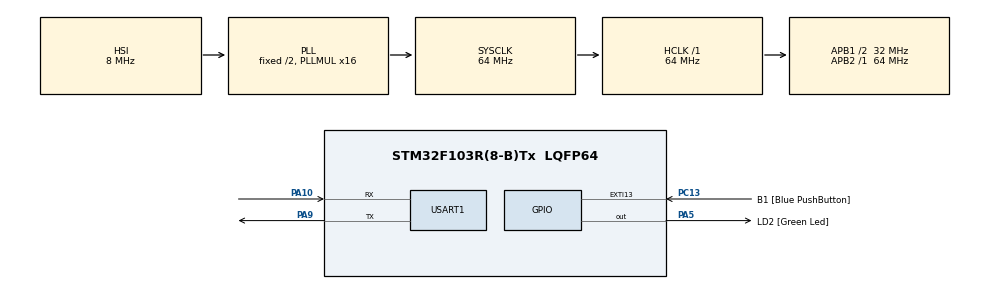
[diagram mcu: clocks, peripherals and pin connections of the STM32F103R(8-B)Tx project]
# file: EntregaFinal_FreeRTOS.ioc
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FREERTOS.Tasks01=defaultTask,-3,128,StartDefaultTask,Default,NULL,Dynamic,NULL,NULL
FREERTOS.configUSE_NEWLIB_REENTRANT=1
Mcu.Family=STM32F1
Mcu.Name=STM32F103R(8-B)Tx
Mcu.Package=LQFP64
NVIC.EXTI15_10_IRQn=true\:5\:0\:false\:false\:true\:true\:true\:true\:true
NVIC.PriorityGroup=NVIC_PRIORITYGROUP_4
NVIC.TIM4_IRQn=true\:15\:0\:false\:false\:true\:false\:false\:true\:true
NVIC.TimeBase=TIM4_IRQn
NVIC.TimeBaseIP=TIM4
PA10.Mode=Asynchronous
PA10.Signal=USART1_RX
PA13.GPIO_Label=TMS
PA13.Mode=Serial_Wire
PA13.Signal=SYS_JTMS-SWDIO
PA14.GPIO_Label=TCK
PA14.Mode=Serial_Wire
PA14.Signal=SYS_JTCK-SWCLK
PA5.GPIO_Label=LD2 [Green Led]
PA5.GPIO_ModeDefaultOutputPP=GPIO_MODE_OUTPUT_PP
PA5.GPIO_PuPd=GPIO_NOPULL
PA5.GPIO_Speed=GPIO_SPEED_FREQ_LOW
PA5.Signal=GPIO_Output
PA9.Mode=Asynchronous
PA9.Signal=USART1_TX
PB3.GPIO_Label=SWO
PB3.Signal=SYS_JTDO-TRACESWO
PC13-TAMPER-RTC.GPIO_Label=B1 [Blue PushButton]
PC13-TAMPER-RTC.GPIO_PuPd=GPIO_NOPULL
PC13-TAMPER-RTC.Signal=GPXTI13
PC14-OSC32_IN.Mode=LSE-External-Oscillator
PC14-OSC32_IN.Signal=RCC_OSC32_IN
PC15-OSC32_OUT.Mode=LSE-External-Oscillator
PC15-OSC32_OUT.Signal=RCC_OSC32_OUT
PD0-OSC_IN.Mode=HSE-External-Clock-Source
PD0-OSC_IN.Signal=RCC_OSC_IN
PD1-OSC_OUT.Mode=HSE-External-Clock-Source
PD1-OSC_OUT.Signal=RCC_OSC_OUT
ProjectManager.HeapSize=0x200
ProjectManager.StackSize=0x400
ProjectManager.TargetToolchain=STM32CubeIDE
RCC.AHBFreq_Value=64000000
RCC.APB1CLKDivider=RCC_HCLK_DIV2
RCC.APB1Freq_Value=32000000
RCC.APB1TimFreq_Value=64000000
RCC.APB2Freq_Value=64000000
RCC.APB2TimFreq_Value=64000000
RCC.HCLKFreq_Value=64000000
RCC.PLLMUL=RCC_PLL_MUL16
RCC.RTCClockSelection=RCC_RTCCLKSOURCE_LSE
RCC.SYSCLKFreq_VALUE=64000000
RCC.SYSCLKSource=RCC_SYSCLKSOURCE_PLLCLK
RCC.USBFreq_Value=64000000
USART1.VirtualMode=VM_ASYNC
VP_FREERTOS_VS_CMSIS_V1.Mode=CMSIS_V1
VP_SYS_VS_tim4.Mode=TIM4
board=NUCLEO-F103RB

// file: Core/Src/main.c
#include <delay.h>
#include "main.h"
#include "cmsis_os.h"
#include <stdint.h>
#include <math.h>
#include <stddef.h>
#include <stdio.h>
#include "EngTrModel.h"
#include "rtwtypes.h"
#include "lcd.h"
#include "keypad.h"
#include "uart.h"

/* USER CODE BEGIN PD */
#define PERIOD_T1	30		// Potenciometro
#define PERIOD_T2	60		// Keypad - Modelo Motor
#define PERIOD_T3	150		// UART
#define PERIOD_T4	150		// LCD

//#define PERIOD_T1	40
//#define PERIOD_T2	60
//#define PERIOD_T3	120
//#define PERIOD_T4	160

#define TICK_DIFF_T1	(osKernelSysTick() - (PERIOD_T1 * counter++))
#define TICK_DIFF_T2	(osKernelSysTick() - (PERIOD_T2 * counter++))
#define TICK_DIFF_T3	(osKernelSysTick() - (PERIOD_T3 * counter++))
#define TICK_DIFF_T4	(osKernelSysTick() - (PERIOD_T4 * counter++))

#define GPIO_BSRR_BR_11 (1U << 27)
#define GPIO_BSRR_BS_11 (1U << 11) // 0x0800

/* USER CODE END PD */

/* USER CODE BEGIN PM */

typedef struct{
	char *direccion;
} DataMotorUART;

typedef struct{
	uint16_t analogicValue;
	uint8_t character;
} DataRasp;

/* USER CODE END PM */

UART_HandleTypeDef huart1;

osThreadId defaultTaskHandle;
/* USER CODE BEGIN PV */
osThreadId Task1Handle;
osThreadId Task2Handle;
osThreadId Task3Handle;
osThreadId Task4Handle;

osMessageQId Queue1Handle; // Send data from the potentiometer
osMessageQId Queue2Handle; // Send data to UART
//osMessageQId Queue3Handle; // Send data to the LCD

osMutexId mutex1Handle;
/* USER CODE END PV */

void SystemClock_Config(void);
static void MX_GPIO_Init(void);
static void MX_USART1_UART_Init(void);
void StartDefaultTask(void const * argument);

/* USER CODE BEGIN PFP */
void StartTask1(void const* argument);
void StartTask2(void const* argument);
void StartTask3(void const* argument);

uint16_t USE_ADC1_MODULE(void);
void turnOnLED(uint16_t);
void turnOffLED(uint16_t);
void Init_Task1 (void);

uint32_t startTick, endTick;

/* USER CODE END PFP */

int main(void)
{

  /* MCU Configuration--------------------------------------------------------*/

  /* Reset of all peripherals, Initializes the Flash interface and the Systick. */
  HAL_Init();

  /* Configure the system clock */
  SystemClock_Config();

  /* Initialize all configured peripherals */
  MX_GPIO_Init();
  MX_USART1_UART_Init();
  USER_USART1_Init();

  // Redirecciona stdout a UART
  setvbuf(stdout, NULL, _IONBF, 0);

  /* USER CODE BEGIN RTOS_MUTEX */
  /* add mutexes, ... */
  osMutexDef(mutex1);
  mutex1Handle = osMutexCreate(osMutex(mutex1));
  /* USER CODE END RTOS_MUTEX */

  /* USER CODE BEGIN RTOS_QUEUES */
  /* add queues, ... */
//  osMessageQDef(Queue1, 100, uint16_t);
  osMessageQDef(Queue1, 100, DataRasp);
  Queue1Handle = osMessageCreate(osMessageQ(Queue1), NULL);

  osMessageQDef(Queue2, 100, DataMotorUART);
  Queue2Handle = osMessageCreate(osMessageQ(Queue2), NULL);

  /* USER CODE END RTOS_QUEUES */

  /* Create the thread(s) */
  /* definition and creation of defaultTask */
  osThreadDef(defaultTask, StartDefaultTask, osPriorityIdle, 0, 384);
  defaultTaskHandle = osThreadCreate(osThread(defaultTask), NULL);

  /* USER CODE BEGIN RTOS_THREADS */
  /* add threads, ... */
  /* definition and creation of Task2 */

  osThreadDef(Task1, StartTask1, osPriorityHigh, 0, 384);
  Task1Handle = osThreadCreate(osThread(Task1), NULL);

  osThreadDef(Task2, StartTask2, osPriorityAboveNormal, 0, 384);
  Task2Handle = osThreadCreate(osThread(Task2), NULL);

  osThreadDef(Task3, StartTask3, osPriorityBelowNormal, 0, 384);
  Task3Handle = osThreadCreate(osThread(Task3), NULL);

  /* USER CODE END RTOS_THREADS */

  /* Start scheduler */
  osKernelStart();

  /* We should never get here as control is now taken by the scheduler */

  /* Infinite loop */
  while (1)
  {

  }
}

void SystemClock_Config(void)
{
  RCC_OscInitTypeDef RCC_OscInitStruct = {0};
  RCC_ClkInitTypeDef RCC_ClkInitStruct = {0};

  /** Initializes the RCC Oscillators according to the specified parameters
  * in the RCC_OscInitTypeDef structure.
  */
  RCC_OscInitStruct.OscillatorType = RCC_OSCILLATORTYPE_HSI;
  RCC_OscInitStruct.HSIState = RCC_HSI_ON;
  RCC_OscInitStruct.HSICalibrationValue = RCC_HSICALIBRATION_DEFAULT;
  RCC_OscInitStruct.PLL.PLLState = RCC_PLL_ON;
  RCC_OscInitStruct.PLL.PLLSource = RCC_PLLSOURCE_HSI_DIV2;
  RCC_OscInitStruct.PLL.PLLMUL = RCC_PLL_MUL16;
  if (HAL_RCC_OscConfig(&RCC_OscInitStruct) != HAL_OK)
  {
    Error_Handler();
  }

  /** Initializes the CPU, AHB and APB buses clocks
  */
  RCC_ClkInitStruct.ClockType = RCC_CLOCKTYPE_HCLK|RCC_CLOCKTYPE_SYSCLK
                              |RCC_CLOCKTYPE_PCLK1|RCC_CLOCKTYPE_PCLK2;
  RCC_ClkInitStruct.SYSCLKSource = RCC_SYSCLKSOURCE_PLLCLK;
  RCC_ClkInitStruct.AHBCLKDivider = RCC_SYSCLK_DIV1;
  RCC_ClkInitStruct.APB1CLKDivider = RCC_HCLK_DIV2;
  RCC_ClkInitStruct.APB2CLKDivider = RCC_HCLK_DIV1;

  if (HAL_RCC_ClockConfig(&RCC_ClkInitStruct, FLASH_LATENCY_2) != HAL_OK)
  {
    Error_Handler();
  }
}

static void MX_USART1_UART_Init(void)
{

  huart1.Instance = USART1;
  huart1.Init.BaudRate = 115200;
  huart1.Init.WordLength = UART_WORDLENGTH_8B;
  huart1.Init.StopBits = UART_STOPBITS_1;
  huart1.Init.Parity = UART_PARITY_NONE;
  huart1.Init.Mode = UART_MODE_TX_RX;
  huart1.Init.HwFlowCtl = UART_HWCONTROL_NONE;
  huart1.Init.OverSampling = UART_OVERSAMPLING_16;
  if (HAL_UART_Init(&huart1) != HAL_OK)
  {
    Error_Handler();
  }

}

static void MX_GPIO_Init(void)
{
  GPIO_InitTypeDef GPIO_InitStruct = {0};

  /* GPIO Ports Clock Enable */
  __HAL_RCC_GPIOC_CLK_ENABLE();
  __HAL_RCC_GPIOD_CLK_ENABLE();
  __HAL_RCC_GPIOA_CLK_ENABLE();
  __HAL_RCC_GPIOB_CLK_ENABLE();

  /*Configure GPIO pin Output Level */
  HAL_GPIO_WritePin(LD2_GPIO_Port, LD2_Pin, GPIO_PIN_RESET);

  /*Configure GPIO pin : B1_Pin */
  GPIO_InitStruct.Pin = B1_Pin;
  GPIO_InitStruct.Mode = GPIO_MODE_IT_RISING;
  GPIO_InitStruct.Pull = GPIO_NOPULL;
  HAL_GPIO_Init(B1_GPIO_Port, &GPIO_InitStruct);

  /*Configure GPIO pin : LD2_Pin */
  GPIO_InitStruct.Pin = LD2_Pin;
  GPIO_InitStruct.Mode = GPIO_MODE_OUTPUT_PP;
  GPIO_InitStruct.Pull = GPIO_NOPULL;
  GPIO_InitStruct.Speed = GPIO_SPEED_FREQ_LOW;
  HAL_GPIO_Init(LD2_GPIO_Port, &GPIO_InitStruct);

  /* EXTI interrupt init*/
  HAL_NVIC_SetPriority(EXTI15_10_IRQn, 5, 0);
  HAL_NVIC_EnableIRQ(EXTI15_10_IRQn);

}

/* USER CODE BEGIN 4 */
void StartTask1(void const * argument){
	Init_Task1();
//    uint32_t counter = 0;
    uint16_t readValue = 0;
    uint8_t characterRasp;

    for(;;){
        startTick = osKernelSysTick();

    	readValue = USE_ADC1_MODULE();
    	characterRasp = USER_USART1_Receive();
    	DataRasp Rasp;
    	Rasp.analogicValue = readValue;
    	Rasp.character = characterRasp;

    	/* Send the value to Queue */
//    	osStatus status = osMessagePut(Queue1Handle, (uint16_t) readValue, osWaitForever);
    	osStatus status = osMessagePut(Queue1Handle, (uint32_t) &Rasp, osWaitForever);
    	if (status != osOK) {
    	    if (status == osErrorTimeoutResource) {
    	        printf("Error: Queue is full\r\n");
    	    } else {
    	    	printf("Error in osMessagePut Task 1\r\n");
    	    }
    	}

//        /* Record the end tick */
        endTick = osKernelSysTick();
//        /* Calculate the time difference */
        uint32_t executionTime = endTick - startTick + 1;
//        /* Print or log the execution time */
//        printf("Task 1 Execution Time: %lu ticks\r\n", executionTime);

    	osDelay(PERIOD_T1 - executionTime);
//    	osDelay(29);
    }
}

void StartTask2(void const * argument){

//	uint32_t counter = 0;
	uint16_T readValue = 0;
	int ThrottleValue = 0;
	volatile char pressedButton;
	char *direccion = "Front";
	uint8_t character;
	DataMotorUART M1;

	for(;;){
        startTick = osKernelSysTick();

        /*Recieve value from Queue*/
		osEvent analogicValue = osMessageGet(Queue1Handle, 0);
        if (analogicValue.status != osEventMessage) {
        	printf("Error in osMessageGet Task 2 \r\n");
        }

		readValue = ((DataRasp *)analogicValue.value.p)->analogicValue;
		character = ((DataRasp *)analogicValue.value.p)->character;
		ThrottleValue = ((readValue*100)/4095);

		if (ThrottleValue < 5){
			ThrottleValue = 5;
		}

		EngTrModel_U.Throttle = ThrottleValue;

		pressedButton = KEYPAD_ReadKey();
		direccion = "Front";

		if(pressedButton == '2' || character == 'B')
		{
			EngTrModel_U.BrakeTorque = 100.0;
			direccion = "Break";
			turnOnLED(11);
			turnOnLED(12);
		}
		else if(pressedButton == '1' || character == 'L')
		{
			direccion = "Left";
			turnOnLED(11);
			turnOffLED(12);
		}
		else if(pressedButton == '3' || character == 'R')
		{
			direccion = "Right";
	    	turnOnLED(12);
	    	turnOffLED(11);
		}
		else
		{
	    	turnOffLED(11);
	    	turnOffLED(12);
			EngTrModel_U.BrakeTorque = 0.0;
		}
		// Update the values into the vehicle model
		EngTrModel_step();

//		/* Send Data to TASK 3*/
//		M1.eS = EngTrModel_Y.EngineSpeed;
//		M1.gear = EngTrModel_Y.Gear;
//		M1.vS = EngTrModel_Y.VehicleSpeed;
		M1.direccion = direccion;
//
//		M2.eS = EngTrModel_Y.EngineSpeed;
//		M2.gear = EngTrModel_Y.Gear;
//		M2.vS = EngTrModel_Y.VehicleSpeed;

		osStatus status1;
		status1 = osMessagePut(Queue2Handle,(uint32_t) &M1, osWaitForever);
		if (status1 != osOK) {
			if (status1 == osErrorTimeoutResource) {
				printf("Error: Queue is full\r\n");
			} else {
				printf("Error in osMessagePut Task 2\r\n");
			}
		}

//		/* Record the end tick */
		endTick = osKernelSysTick();
//		/* Calculate the time difference */
		uint32_t executionTime = endTick - startTick;
//		/* Print or log the execution time */
//		printf("Task 2 Execution Time: %lu ticks\r\n", executionTime);

//		osDelay(PERIOD_T2 - TICK_DIFF_T2);
		osDelay(PERIOD_T2 - executionTime);
//		osDelay(59);
	}
}

void StartTask3(void const * argument){
//	uint32_t counter = 0;
	char *direccion  = "";

	for(;;){
		startTick = osKernelSysTick();

		/*Receive value from Queue*/
		osEvent valuesMotor = osMessageGet(Queue2Handle, 0);
		if (valuesMotor.status != osEventMessage) {
			printf("Error in osMessageGet Task 3\r\n");
		}

		direccion = ((DataMotorUART *)valuesMotor.value.p)->direccion;

		// Send the output values
		osMutexWait(mutex1Handle, osWaitForever);

		printf("%f,%f,%f,%s\n\r", EngTrModel_Y.VehicleSpeed, EngTrModel_Y.Gear ,EngTrModel_Y.EngineSpeed, direccion);
		tim2_delay(TIM2_TIME_50MS);

		LCD_Clear();
		LCD_Set_Cursor( 1, 1 );
		LCD_Put_Str( "VS:" );
		LCD_Put_Num( EngTrModel_Y.VehicleSpeed );
		LCD_Put_Str( "   G:");
		LCD_Put_Num( EngTrModel_Y.Gear );
		LCD_Set_Cursor( 2, 1 );
		LCD_Put_Str( "ES:");
		LCD_Put_Num( EngTrModel_Y.EngineSpeed );
		tim2_delay(TIM2_TIME_100MS);

		osMutexRelease(mutex1Handle);

//		/* Record the end tick */
		endTick = osKernelSysTick();
//		/* Calculate the time difference */
		uint32_t executionTime = endTick - startTick;
//		/* Print or log the execution time */
//		printf("Task 3 Execution Time: %lu ticks\r\n", executionTime);

//		osDelay(PERIOD_T3 - TICK_DIFF_T3);
		osDelay(PERIOD_T3 - executionTime);
//		osDelay(128);
	}
}

void Init_Task1 (void){
	/*System Clock (SYSCLK) Configuration or */
	FLASH->ACR		&=	~( 0X5UL <<  0U); // two wait states latency, if SYSCLK > 48MHz
	FLASH->ACR		|=	 ( 0X2UL <<  0U); // two wait states latency, if SYSCLK > 48MHz
	RCC->CFGR		&=	~( 0x1UL << 16U)  // PLL HSI Clock /2 selected as PLL input clock
					&	~( 0x7UL << 11U)  // APB2 prescaler /1
					&	~( 0x3UL <<  8U)  // APB1 prescaler /2 (APB1 must not exceeed 36Mhz)
					&	~( 0xFUL <<  4U); // AHB perscaler /1
	RCC->CFGR		|=	 ( 0xFUL << 18U)  // PLL input clock x 16 (PLLMUL bits)
					|	 ( 0x4UL <<  8U); // APB1 Prescaler /2
	RCC->CR			|= 	 ( 0x1UL << 24U); // PLL2 ON
	while( !(RCC->CR & ~(0x1UL << 25U )));// Wait until PLL is locked
	RCC->CFGR 		&=  ~( 0x1UL <<  0U); // PLL used as system clock (SW bits)
	RCC->CFGR		|=	 ( 0x2UL <<  0U); // PLL used as system clock (SW bits)
	while( 0x8UL != (RCC->CFGR & 0xCUL)); // wait until PLL is switched

//-------------------------------------------------------------------------------

	// Enable clock for required peripherals
	RCC->APB2ENR    |=  ( 0x1UL <<  2U )    // IO port A clock enable
					|   ( 0x1UL << 14U ); 	// USART 1 clock enable
	RCC->APB2ENR    |=  ( 0x1UL <<  4U );   // IO port C clock enable
	RCC->APB2ENR    |=  ( 0x1UL <<  9U );   // ADC1 clock enable

//-------------------------------------------------------------------------------

	// Configure ADC1 clock peripheral
	RCC->CFGR		|= 	( 0x3  <<  14);	// PCLK2 divided by 8

    // CONFIGURE THE ADC1 PIN3 TO INPUT THE VOLTAGE
    // GPIOx_BSRR modified to reset pin 0 of port A
	GPIOA->BSRR |= (0x1UL << 16U); // Immediate value
	// GPIOx_CRL modified to configure pin 0 as input analog
	GPIOA->CRL  &=  ~(0x3UL << 2U) & ~(0x3UL << 0U);

	// INITIALIZE AND ENABLE THE ADC1 PERIPHERAL
	ADC1->CR1		&=	~(0xF << 16UL);
	// DETERMINE THE RESULT FORMAT
	ADC1->CR2		&= ~(0x1  << 11UL)  // Right Alignment
					|	(0x1  <<  1UL); // Continuos conversion mode

	// DETERMINE THE SAMPLE TIME
	// ¿Cómo se determina el Sample time adecuado?
	ADC1->SMPR2		&= ~(0x7  <<  0UL); // 1.5 Cycles
	// THE SECUENCES AND/OR THE NUMBER OF CONVERSACIONS FOR THE ADC REGULAR CHANNELS
	ADC1->SQR1		&= ~(0xF  <<  20UL);// 1 Conversion for regular channels
	// SELECT THE CHANNEL FOR THE FIRST ADC CONVERSATION
	ADC1->SQR3		&= ~(0x1F  << 0UL);// first conversion in channel 0

	// ENABLE THE ADC MODULE
	ADC1->CR2		|=  (0x1  <<  0UL); // ADC Enable and start conversion
	// ADC Calibration
	ADC1->CR2		|=  (0x1  <<  2UL); // Start the calibration
    // Wait until after calibration is complete
    while((ADC1->CR2 & (0x1UL << 2U)) == 0){}

//-------------------------------------------------------------------------------

    //	Configuración del PIN PB11 como salida push-pull
	GPIOB->CRH &= ~((0xF << 12));  // Limpiar bits de configuración para el PIN 11
	GPIOB->CRH |=  (0x1 << 12);    // Configurar como salida de 10 MHz (MODE11[1:0] = 01, CNF11[1:0] = 00)

	// Configuración del PIN PB12 como salida push-pull
	GPIOB->CRH &= ~((0xF << 16));  // Limpiar bits de configuración para el PIN 12
	GPIOB->CRH |=  (0x1 << 16);    // Configurar como salida de 10 MHz (MODE12[1:0] = 01, CNF12[1:0] = 00)

//-------------------------------------------------------------------------------

	KEYPAD_Init();
	EngTrModel_initialize();
	LCD_Init();
}

uint16_t USE_ADC1_MODULE(void){
	ADC1->CR2	|=  (0x1  <<  0UL); // ADC Enable and start conversion
	// Wait until conversation is done (SR reg EOC bit)
    while ((ADC1->SR & (0x1UL << 1U)) == 0);
    // Read the value in DR(15:0) of ADC1
    uint16_t readValue = ADC1->DR & 0xFFFF;
    return readValue;
}

void turnOnLED(uint16_t pin) {
    GPIOB->ODR |= (1 << pin);  // Establecer el pin correspondiente (alta)
}

void turnOffLED(uint16_t pin) {
    GPIOB->ODR &= ~(1 << pin);  // Restablecer el pin correspondiente (baja)
}

/* Read USART1 To String */
void ReadUSART1ToString(void)
{
    uint8_t rxBuffer[100];
    HAL_StatusTypeDef status;

    status = HAL_UART_Receive(&huart1, rxBuffer, sizeof(rxBuffer), HAL_MAX_DELAY);

    if (status == HAL_OK)
    {
        // Null-terminate the received string
        rxBuffer[sizeof(rxBuffer) - 1] = '\0';
        // Print the received string
        printf("Received: %s\n", rxBuffer);
    }
    else
    {
        // Handle error
        printf("Receive error: %d\n", status);
    }
}

/* USER CODE END 4 */

void StartDefaultTask(void const * argument)
{
  for(;;)
  {
    osDelay(1);
  }
}

void HAL_TIM_PeriodElapsedCallback(TIM_HandleTypeDef *htim)
{
  if (htim->Instance == TIM4) {
    HAL_IncTick();
  }
}

void Error_Handler(void)
{
  __disable_irq();
  while (1)
  {
  }
}
